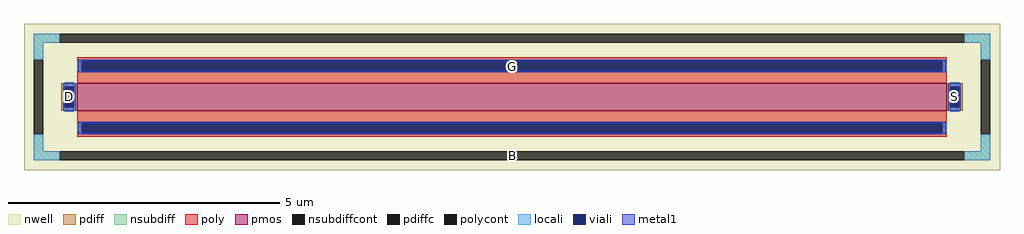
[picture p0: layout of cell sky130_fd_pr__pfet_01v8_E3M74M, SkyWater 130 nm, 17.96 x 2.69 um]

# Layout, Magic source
magic
tech sky130A
magscale 1 2
<< nwell >>
rect -1796 -269 1796 269
<< pmos >>
rect -1600 -50 1600 50
<< pdiff >>
rect -1658 38 -1600 50
rect -1658 -38 -1646 38
rect -1612 -38 -1600 38
rect -1658 -50 -1600 -38
rect 1600 38 1658 50
rect 1600 -38 1612 38
rect 1646 -38 1658 38
rect 1600 -50 1658 -38
<< pdiffc >>
rect -1646 -38 -1612 38
rect 1612 -38 1646 38
<< nsubdiff >>
rect -1760 199 -1664 233
rect 1664 199 1760 233
rect -1760 137 -1726 199
rect 1726 137 1760 199
rect -1760 -199 -1726 -137
rect 1726 -199 1760 -137
rect -1760 -233 -1664 -199
rect 1664 -233 1760 -199
<< nsubdiffcont >>
rect -1664 199 1664 233
rect -1760 -137 -1726 137
rect 1726 -137 1760 137
rect -1664 -233 1664 -199
<< poly >>
rect -1600 131 1600 147
rect -1600 97 -1584 131
rect 1584 97 1600 131
rect -1600 50 1600 97
rect -1600 -97 1600 -50
rect -1600 -131 -1584 -97
rect 1584 -131 1600 -97
rect -1600 -147 1600 -131
<< polycont >>
rect -1584 97 1584 131
rect -1584 -131 1584 -97
<< locali >>
rect -1760 199 -1664 233
rect 1664 199 1760 233
rect -1760 137 -1726 199
rect 1726 137 1760 199
rect -1600 97 -1584 131
rect 1584 97 1600 131
rect -1646 38 -1612 54
rect -1646 -54 -1612 -38
rect 1612 38 1646 54
rect 1612 -54 1646 -38
rect -1600 -131 -1584 -97
rect 1584 -131 1600 -97
rect -1760 -199 -1726 -137
rect 1726 -199 1760 -137
rect -1760 -233 -1664 -199
rect 1664 -233 1760 -199
<< viali >>
rect -1584 97 1584 131
rect -1646 -38 -1612 38
rect 1612 -38 1646 38
rect -1584 -131 1584 -97
<< metal1 >>
rect -1596 131 1596 137
rect -1596 97 -1584 131
rect 1584 97 1596 131
rect -1596 91 1596 97
rect -1652 38 -1606 50
rect -1652 -38 -1646 38
rect -1612 -38 -1606 38
rect -1652 -50 -1606 -38
rect 1606 38 1652 50
rect 1606 -38 1612 38
rect 1646 -38 1652 38
rect 1606 -50 1652 -38
rect -1596 -97 1596 -91
rect -1596 -131 -1584 -97
rect 1584 -131 1596 -97
rect -1596 -137 1596 -131
<< labels >>
rlabel nsubdiffcont 0 -216 0 -216 0 B
port 1 nsew
rlabel pdiffc -1629 0 -1629 0 0 D
port 2 nsew
rlabel pdiffc 1629 0 1629 0 0 S
port 3 nsew
rlabel polycont 0 114 0 114 0 G
port 4 nsew
<< properties >>
string FIXED_BBOX -1743 -216 1743 216
string gencell sky130_fd_pr__pfet_01v8
string library sky130
string parameters w 0.5 l 16.0 m 1 nf 1 diffcov 100 polycov 100 guard 1 glc 1 grc 1 gtc 1 gbc 1 tbcov 100 rlcov 100 topc 1 botc 1 poverlap 0 doverlap 1 lmin 0.15 wmin 0.42 class mosfet compatible {sky130_fd_pr__pfet_01v8  sky130_fd_pr__pfet_01v8_lvt sky130_fd_pr__pfet_01v8_hvt  sky130_fd_pr__pfet_g5v0d10v5} full_metal 1 conn_gates 0 viasrc 100 viadrn 100 viagate 100 viagb 0 viagr 0 viagl 0 viagt 0 doports 1
<< end >>
